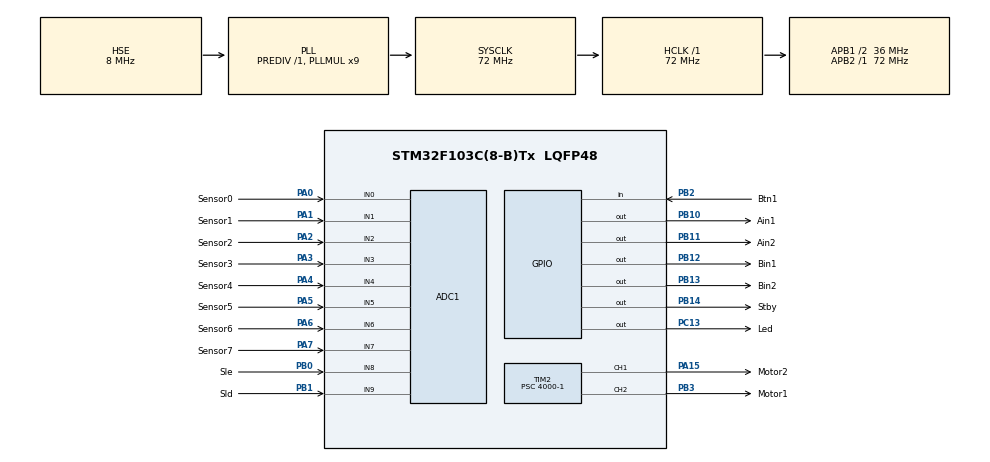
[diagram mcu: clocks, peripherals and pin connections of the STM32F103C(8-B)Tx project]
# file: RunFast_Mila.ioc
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ADC1.Channel-10\#ChannelRegularConversion=ADC_CHANNEL_0
ADC1.Channel-11\#ChannelRegularConversion=ADC_CHANNEL_1
ADC1.Channel-12\#ChannelRegularConversion=ADC_CHANNEL_2
ADC1.Channel-13\#ChannelRegularConversion=ADC_CHANNEL_3
ADC1.Channel-14\#ChannelRegularConversion=ADC_CHANNEL_4
ADC1.Channel-15\#ChannelRegularConversion=ADC_CHANNEL_5
ADC1.Channel-16\#ChannelRegularConversion=ADC_CHANNEL_6
ADC1.Channel-17\#ChannelRegularConversion=ADC_CHANNEL_7
ADC1.ContinuousConvMode=ENABLE
ADC1.EnableInjectedConversion=DISABLE
ADC1.EnableRegularConversion=ENABLE
ADC1.InjNumberOfConversion=4
ADC1.NbrOfConversion=8
ADC1.NbrOfConversionFlag=1
ADC1.Rank-10\#ChannelRegularConversion=1
ADC1.Rank-11\#ChannelRegularConversion=2
ADC1.Rank-12\#ChannelRegularConversion=3
ADC1.Rank-13\#ChannelRegularConversion=4
ADC1.Rank-14\#ChannelRegularConversion=5
ADC1.Rank-15\#ChannelRegularConversion=6
ADC1.Rank-16\#ChannelRegularConversion=7
ADC1.Rank-17\#ChannelRegularConversion=8
ADC1.SamplingTime-10\#ChannelRegularConversion=ADC_SAMPLETIME_1CYCLE_5
ADC1.SamplingTime-11\#ChannelRegularConversion=ADC_SAMPLETIME_1CYCLE_5
ADC1.SamplingTime-12\#ChannelRegularConversion=ADC_SAMPLETIME_1CYCLE_5
ADC1.SamplingTime-13\#ChannelRegularConversion=ADC_SAMPLETIME_1CYCLE_5
ADC1.SamplingTime-14\#ChannelRegularConversion=ADC_SAMPLETIME_1CYCLE_5
ADC1.SamplingTime-15\#ChannelRegularConversion=ADC_SAMPLETIME_1CYCLE_5
ADC1.SamplingTime-16\#ChannelRegularConversion=ADC_SAMPLETIME_1CYCLE_5
ADC1.SamplingTime-17\#ChannelRegularConversion=ADC_SAMPLETIME_1CYCLE_5
ADC1.master=1
Dma.ADC1.0.Direction=DMA_PERIPH_TO_MEMORY
Dma.ADC1.0.Instance=DMA1_Channel1
Dma.ADC1.0.MemDataAlignment=DMA_MDATAALIGN_HALFWORD
Dma.ADC1.0.MemInc=DMA_MINC_ENABLE
Dma.ADC1.0.Mode=DMA_CIRCULAR
Dma.ADC1.0.PeriphDataAlignment=DMA_PDATAALIGN_HALFWORD
Dma.ADC1.0.PeriphInc=DMA_PINC_DISABLE
Dma.ADC1.0.Priority=DMA_PRIORITY_VERY_HIGH
Dma.Request0=ADC1
FREERTOS.Queues01=SensorQueue,16,uint16_t,0,Dynamic,NULL,NULL
FREERTOS.Tasks01=Sensor_Read,48,128,Fun_Sensor_Read,Default,NULL,Dynamic,NULL,NULL;CtrMotors,40,128,Fun_ctrMotors,Default,NULL,Dynamic,NULL,NULL
FREERTOS.configENABLE_FPU=1
FREERTOS.configUSE_NEWLIB_REENTRANT=1
Mcu.Family=STM32F1
Mcu.Name=STM32F103C(8-B)Tx
Mcu.Package=LQFP48
NVIC.DMA1_Channel1_IRQn=true\:5\:0\:false\:false\:true\:true\:false\:true\:true
NVIC.PriorityGroup=NVIC_PRIORITYGROUP_4
NVIC.TIM1_UP_IRQn=true\:15\:0\:false\:false\:true\:false\:false\:true\:true
NVIC.TIM2_IRQn=true\:5\:0\:false\:false\:true\:true\:true\:true\:true
NVIC.TimeBase=TIM1_UP_IRQn
NVIC.TimeBaseIP=TIM1
PA0-WKUP.GPIO_Label=Sensor0
PA0-WKUP.Signal=ADCx_IN0
PA1.GPIO_Label=Sensor1
PA1.Signal=ADCx_IN1
PA13.Mode=Serial_Wire
PA13.Signal=SYS_JTMS-SWDIO
PA14.Mode=Serial_Wire
PA14.Signal=SYS_JTCK-SWCLK
PA15.GPIO_Label=Motor2
PA15.Signal=S_TIM2_CH1_ETR
PA2.GPIO_Label=Sensor2
PA2.Signal=ADCx_IN2
PA3.GPIO_Label=Sensor3
PA3.Signal=ADCx_IN3
PA4.GPIO_Label=Sensor4
PA4.Signal=ADCx_IN4
PA5.GPIO_Label=Sensor5
PA5.Signal=ADCx_IN5
PA6.GPIO_Label=Sensor6
PA6.Signal=ADCx_IN6
PA7.GPIO_Label=Sensor7
PA7.Signal=ADCx_IN7
PB0.GPIO_Label=Sle
PB0.Signal=ADCx_IN8
PB1.GPIO_Label=Sld
PB1.Signal=ADCx_IN9
PB10.GPIO_Label=Ain1
PB10.Signal=GPIO_Output
PB11.GPIO_Label=Ain2
PB11.Signal=GPIO_Output
PB12.GPIO_Label=Bin1
PB12.Signal=GPIO_Output
PB13.GPIO_Label=Bin2
PB13.Signal=GPIO_Output
PB14.GPIO_Label=Stby
PB14.Signal=GPIO_Output
PB2.GPIO_Label=Btn1
PB2.Signal=GPIO_Input
PB3.GPIO_Label=Motor1
PB3.Signal=S_TIM2_CH2
PC13-TAMPER-RTC.GPIO_Label=Led
PC13-TAMPER-RTC.Signal=GPIO_Output
PD0-OSC_IN.Mode=HSE-External-Oscillator
PD0-OSC_IN.Signal=RCC_OSC_IN
PD1-OSC_OUT.Mode=HSE-External-Oscillator
PD1-OSC_OUT.Signal=RCC_OSC_OUT
ProjectManager.HeapSize=0x200
ProjectManager.StackSize=0x400
ProjectManager.TargetToolchain=STM32CubeIDE
RCC.ADCPresc=RCC_ADCPCLK2_DIV6
RCC.AHBFreq_Value=72000000
RCC.APB1CLKDivider=RCC_HCLK_DIV2
RCC.APB1Freq_Value=36000000
RCC.APB1TimFreq_Value=72000000
RCC.APB2Freq_Value=72000000
RCC.APB2TimFreq_Value=72000000
RCC.HCLKFreq_Value=72000000
RCC.PLLMUL=RCC_PLL_MUL9
RCC.PLLSourceVirtual=RCC_PLLSOURCE_HSE
RCC.SYSCLKFreq_VALUE=72000000
RCC.SYSCLKSource=RCC_SYSCLKSOURCE_PLLCLK
RCC.USBFreq_Value=72000000
SH.ADCx_IN0.0=ADC1_IN0,IN0
SH.ADCx_IN1.0=ADC1_IN1,IN1
SH.ADCx_IN2.0=ADC1_IN2,IN2
SH.ADCx_IN3.0=ADC1_IN3,IN3
SH.ADCx_IN4.0=ADC1_IN4,IN4
SH.ADCx_IN5.0=ADC1_IN5,IN5
SH.ADCx_IN6.0=ADC1_IN6,IN6
SH.ADCx_IN7.0=ADC1_IN7,IN7
SH.ADCx_IN8.0=ADC1_IN8,IN8
SH.ADCx_IN9.0=ADC1_IN9,IN9
SH.S_TIM2_CH1_ETR.0=TIM2_CH1,PWM Generation1 CH1
SH.S_TIM2_CH2.0=TIM2_CH2,PWM Generation2 CH2
TIM2.Channel-PWM\ Generation1\ CH1=TIM_CHANNEL_1
TIM2.Channel-PWM\ Generation2\ CH2=TIM_CHANNEL_2
TIM2.Period=2-1
TIM2.Prescaler=4000-1
VP_FREERTOS_VS_CMSIS_V2.Mode=CMSIS_V2
VP_SYS_VS_tim1.Mode=TIM1
VP_TIM2_VS_ClockSourceINT.Mode=Internal
board=custom

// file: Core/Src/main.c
/* USER CODE BEGIN Header */
/**
  ******************************************************************************
  * @file           : main.c
  * @brief          : Main program body
  ******************************************************************************
  * @attention
  *
  * Copyright (c) 2026 STMicroelectronics.
  * All rights reserved.
  *
  * This software is licensed under terms that can be found in the LICENSE file
  * in the root directory of this software component.
  * If no LICENSE file comes with this software, it is provided AS-IS.
  *
  ******************************************************************************
  */
/* USER CODE END Header */
#include "main.h"
#include "cmsis_os.h"
#include "adc.h"
#include "dma.h"
#include "tim.h"
#include "gpio.h"

/* USER CODE BEGIN Includes */
#include"AdcSensor.h"

/* USER CODE END Includes */

/* USER CODE BEGIN PTD */
// Estrutura para armazenar os dados do PID
/*
typedef struct {
    float kp;       // Ganho proporcional
    float ki;       // Ganho integral
    float kd;       // Ganho derivativo

    float erro_anterior;
    float integral;

    float saida_min; // Limite inferior da saída
    float saida_max; // Limite superior da saída
} PIDController;
*/
/* USER CODE END PTD */

/* USER CODE BEGIN PD */
#define LIMIAR_SENSOR   4000u
#define N_Sensor_Frente  8
#define N_Sensor_Lateral     2
#define NUM_SENSORES_TOTAL    (NUM_SENSORES_FRENTE + NUM_SENSORES_TRAS)
/* USER CODE END PD */

/* USER CODE BEGIN PM */

// O equivalente ao "constrain" e "abs" do Arduino
#define CONSTRAIN(x, low, high) ((x) < (low) ? (low) : ((x) > (high) ? (high) : (x)))
#define ABS(x) ((x) > 0 ? (x) : -(x))

/* USER CODE END PM */

/* USER CODE BEGIN PV */
uint16_t SensorF[N_Sensor_Frente];
uint16_t SensorL[N_Sensor_Lateral];
uint16_t LeituraF[N_Sensor_Frente];
uint16_t LeituraL[N_Sensor_Lateral];

static const uint8_t Pesos[8] = { -100, -70, -45, -20, 20, 45, 70, 100 };
//static const uint8_t PassBit[N_Sensor_Frente] = {8,7,6,5,4,3,2,1};

float kp = 12.2f, ki = 0.04f, kd = 0.8f;
float erroAnterior = 0.0f , integral = 0.0f;

/* USER CODE END PV */

void SystemClock_Config(void);
void MX_FREERTOS_Init(void);

/* USER CODE BEGIN 0 */
void AdcSensor();
/* USER CODE END 0 */

int main(void)
{

  /* MCU Configuration--------------------------------------------------------*/

  /* Reset of all peripherals, Initializes the Flash interface and the Systick. */
  HAL_Init();

  /* Configure the system clock */
  SystemClock_Config();

  /* Initialize all configured peripherals */
  MX_GPIO_Init();
  MX_DMA_Init();
  MX_TIM2_Init();
  MX_ADC1_Init();
  /* USER CODE BEGIN 2 */
  HAL_ADC_Start(&hadc1);
  HAL_ADC_Start_DMA(&hadc1, (uint32_t*)SensorF, 9);

  /* USER CODE END 2 */

  /* Init scheduler */
  osKernelInitialize();  /* Call init function for freertos objects (in cmsis_os2.c) */
  MX_FREERTOS_Init();

  /* Start scheduler */
  osKernelStart();

  /* We should never get here as control is now taken by the scheduler */

  /* Infinite loop */
  while (1)
  {

  }
}

void SystemClock_Config(void)
{
  RCC_OscInitTypeDef RCC_OscInitStruct = {0};
  RCC_ClkInitTypeDef RCC_ClkInitStruct = {0};
  RCC_PeriphCLKInitTypeDef PeriphClkInit = {0};

  /** Initializes the RCC Oscillators according to the specified parameters
  * in the RCC_OscInitTypeDef structure.
  */
  RCC_OscInitStruct.OscillatorType = RCC_OSCILLATORTYPE_HSE;
  RCC_OscInitStruct.HSEState = RCC_HSE_ON;
  RCC_OscInitStruct.HSEPredivValue = RCC_HSE_PREDIV_DIV1;
  RCC_OscInitStruct.HSIState = RCC_HSI_ON;
  RCC_OscInitStruct.PLL.PLLState = RCC_PLL_ON;
  RCC_OscInitStruct.PLL.PLLSource = RCC_PLLSOURCE_HSE;
  RCC_OscInitStruct.PLL.PLLMUL = RCC_PLL_MUL9;
  if (HAL_RCC_OscConfig(&RCC_OscInitStruct) != HAL_OK)
  {
    Error_Handler();
  }

  /** Initializes the CPU, AHB and APB buses clocks
  */
  RCC_ClkInitStruct.ClockType = RCC_CLOCKTYPE_HCLK|RCC_CLOCKTYPE_SYSCLK
                              |RCC_CLOCKTYPE_PCLK1|RCC_CLOCKTYPE_PCLK2;
  RCC_ClkInitStruct.SYSCLKSource = RCC_SYSCLKSOURCE_PLLCLK;
  RCC_ClkInitStruct.AHBCLKDivider = RCC_SYSCLK_DIV1;
  RCC_ClkInitStruct.APB1CLKDivider = RCC_HCLK_DIV2;
  RCC_ClkInitStruct.APB2CLKDivider = RCC_HCLK_DIV1;

  if (HAL_RCC_ClockConfig(&RCC_ClkInitStruct, FLASH_LATENCY_2) != HAL_OK)
  {
    Error_Handler();
  }
  PeriphClkInit.PeriphClockSelection = RCC_PERIPHCLK_ADC;
  PeriphClkInit.AdcClockSelection = RCC_ADCPCLK2_DIV6;
  if (HAL_RCCEx_PeriphCLKConfig(&PeriphClkInit) != HAL_OK)
  {
    Error_Handler();
  }
}

/* USER CODE BEGIN 4 */

void HAL_ADC_ConvCpltCallback(ADC_HandleTypeDef* hadc)
{

}

/* USER CODE END 4 */

void HAL_TIM_PeriodElapsedCallback(TIM_HandleTypeDef *htim)
{
  if (htim->Instance == TIM1)
  {
    HAL_IncTick();
  }
}

void Error_Handler(void)
{
  __disable_irq();
  while (1)
  {
  }
}

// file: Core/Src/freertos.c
/* USER CODE BEGIN Header */
/**
  ******************************************************************************
  * File Name          : freertos.c
  * Description        : Code for freertos applications
  ******************************************************************************
  * @attention
  *
  * Copyright (c) 2026 STMicroelectronics.
  * All rights reserved.
  *
  * This software is licensed under terms that can be found in the LICENSE file
  * in the root directory of this software component.
  * If no LICENSE file comes with this software, it is provided AS-IS.
  *
  ******************************************************************************
  */
/* USER CODE END Header */

#include "FreeRTOS.h"
#include "task.h"
#include "main.h"
#include "cmsis_os.h"

/* Definitions for Sensor_Read */
osThreadId_t Sensor_ReadHandle;
const osThreadAttr_t Sensor_Read_attributes = {
  .name = "Sensor_Read",
  .stack_size = 128 * 4,
  .priority = (osPriority_t) osPriorityRealtime,
};
/* Definitions for CtrMotors */
osThreadId_t CtrMotorsHandle;
const osThreadAttr_t CtrMotors_attributes = {
  .name = "CtrMotors",
  .stack_size = 128 * 4,
  .priority = (osPriority_t) osPriorityHigh,
};
/* Definitions for SensorQueue */
osMessageQueueId_t SensorQueueHandle;
const osMessageQueueAttr_t SensorQueue_attributes = {
  .name = "SensorQueue"
};

void Fun_Sensor_Read(void *argument);
void Fun_ctrMotors(void *argument);

void MX_FREERTOS_Init(void); /* (MISRA C 2004 rule 8.1) */

void MX_FREERTOS_Init(void) {

  /* Create the queue(s) */
  /* creation of SensorQueue */
  SensorQueueHandle = osMessageQueueNew (16, sizeof(uint16_t), &SensorQueue_attributes);

  /* Create the thread(s) */
  /* creation of Sensor_Read */
  Sensor_ReadHandle = osThreadNew(Fun_Sensor_Read, NULL, &Sensor_Read_attributes);

  /* creation of CtrMotors */
  CtrMotorsHandle = osThreadNew(Fun_ctrMotors, NULL, &CtrMotors_attributes);

}

void Fun_Sensor_Read(void *argument)
{
  for(;;)
  {
    osDelay(1);
  }
}

void Fun_ctrMotors(void *argument)
{
  for(;;)
  {
    osDelay(1);
  }
}
